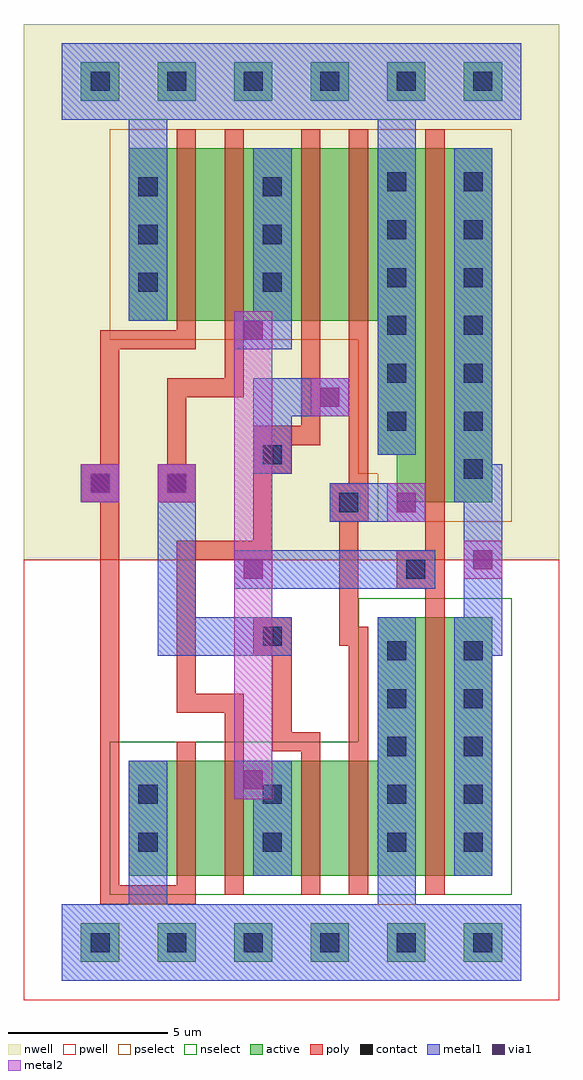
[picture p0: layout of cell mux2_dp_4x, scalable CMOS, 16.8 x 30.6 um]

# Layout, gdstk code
import gdstk
lib = gdstk.Library(unit=1e-6, precision=1e-09)
def R(c, l, rs):  # rectangles x0, y0, x1, y1
    for r in rs: c.add(gdstk.rectangle(r[:2], r[2:], *l))
def A(c, l, x, y, w, h, nx, ny, dx, dy):  # array of equal rectangles
    R(c, l, [(x+i*dx, y+j*dy, x+i*dx+w, y+j*dy+h) for i in range(nx) for j in range(ny)])
contact = (25, 0)
pwell = (41, 0)
nwell = (42, 0)
active = (43, 0)
pselect = (44, 0)
nselect = (45, 0)
poly = (46, 0)
metal1 = (49, 0)
via1 = (50, 0)
metal2 = (51, 0)

mux2_dp_4x = lib.new_cell('mux2_dp_4x')
A(mux2_dp_4x, contact, 0.3, -0.3, 0.6, 0.6, 6, 2, 2.4, 27)
A(mux2_dp_4x, contact, 1.8, 2.85, 0.6, 0.6, 3, 2, 3.9, 1.5)
A(mux2_dp_4x, contact, 12, 2.85, 0.6, 0.6, 1, 5, 0, 1.5)
A(mux2_dp_4x, contact, 9.6, 5.85, 0.6, 0.6, 1, 3, 0, 1.5)
A(mux2_dp_4x, contact, 12, 14.55, 0.6, 0.6, 1, 7, 0, 1.5)
A(mux2_dp_4x, contact, 9.6, 16.05, 0.6, 0.6, 1, 6, 0, 1.5)
A(mux2_dp_4x, contact, 1.8, 20.4, 0.6, 0.6, 1, 3, 0, 1.5)
A(mux2_dp_4x, contact, 5.7, 20.4, 0.6, 0.6, 1, 3, 0, 1.5)
R(mux2_dp_4x, contact, [(5.7,9.3,6.3,9.9), (10.2,11.4,10.8,12), (8.1,13.5,8.7,14.1), (0.3,14.1,0.9,14.7), (2.7,14.1,3.3,14.7), (5.7,15,6.3,15.6)])
A(mux2_dp_4x, pwell, -0.9, -1.5, 3, 3, 6, 1, 2.4, 0)
R(mux2_dp_4x, pwell, [(-1.8,-1.8,15,12), (-0.3,0.3,4.5,7.5), (0.3,0.3,6.3,7.5), (1.8,0.3,7.8,7.5), (3.6,0.3,8.4,7.5), (4.2,0.3,10.2,7.5), (5.7,0.3,11.7,7.5), (7.5,0.3,12.3,12), (8.1,0.3,14.1,12), (9.9,0.3,14.7,12), (7.65,1.65,12.225,6.15), (9.975,1.65,14.55,6.15), (3.6,1.95,8.175,6.45), (3.6,2.25,8.325,6.75), (1.425,2.55,6.675,7.05), (5.325,2.55,10.575,7.05), (7.575,2.55,12.15,7.05), (-0.15,2.577,4.425,7.077)])
A(mux2_dp_4x, nwell, -0.9, 25.5, 3, 3, 6, 1, 2.4, 0)
R(mux2_dp_4x, nwell, [(-1.8,12,15,28.8), (8.1,12,14.1,26.7), (9.9,12,14.7,26.7), (7.5,13.5,12.3,26.7), (-0.3,17.7,4.5,26.7), (0.3,17.7,6.3,26.7), (1.8,17.7,7.8,26.7), (3.6,17.7,8.4,26.7), (4.2,17.7,10.2,26.7), (5.7,17.7,11.7,26.7), (7.575,18.75,12.15,23.25), (3.75,19.05,8.325,23.55), (3.675,19.5,8.25,24), (5.325,19.65,10.575,24.15), (-0.15,19.95,4.425,24.45), (7.65,19.95,12.225,24.45), (9.975,20.25,14.55,24.75), (1.425,21.15,6.675,25.65)])
A(mux2_dp_4x, active, 0, -0.6, 1.2, 1.2, 6, 2, 2.4, 27)
R(mux2_dp_4x, active, [(1.5,2.1,2.7,5.7), (2.1,2.1,4.5,5.7), (3.6,2.1,6,5.7), (5.4,2.1,6.6,5.7), (6,2.1,8.4,5.7), (7.5,2.1,9.9,5.7), (9.3,2.1,10.5,10.2), (9.9,2.1,12.3,10.2), (11.7,2.1,12.9,10.2), (9.45,3.45,10.425,4.35), (11.775,3.45,12.75,4.35), (5.4,3.75,6.375,4.65), (5.4,4.05,6.525,4.95), (3.225,4.35,4.875,5.25), (7.125,4.35,8.775,5.25), (9.375,4.35,10.35,5.25), (1.65,4.377,2.625,5.277), (9.9,13.8,12.3,24.9), (11.7,13.8,12.9,24.9), (9.3,15.3,10.5,24.9), (1.5,19.5,2.7,24.9), (2.1,19.5,4.5,24.9), (3.6,19.5,6,24.9), (5.4,19.5,6.6,24.9), (6,19.5,8.4,24.9), (7.5,19.5,9.9,24.9), (9.375,20.55,10.35,21.45), (5.55,20.85,6.525,21.75), (5.475,21.3,6.45,22.2), (7.125,21.45,8.775,22.35), (1.65,21.75,2.625,22.65), (9.45,21.75,10.425,22.65), (11.775,22.05,12.75,22.95), (3.225,22.95,4.875,23.85)])
A(mux2_dp_4x, pselect, -0.6, -1.2, 2.4, 2.4, 6, 1, 2.4, 0)
R(mux2_dp_4x, pselect, [(9.3,13.2,12.9,25.5), (11.1,13.2,13.5,25.5), (8.7,14.7,11.1,25.5), (0.9,18.9,3.3,25.5), (1.5,18.9,5.1,25.5), (3,18.9,6.6,25.5), (4.8,18.9,7.2,25.5), (5.4,18.9,9,25.5), (6.9,18.9,10.5,25.5), (8.775,19.95,10.95,22.05), (4.95,20.25,7.125,22.35), (4.875,20.7,7.05,22.8), (6.525,20.85,9.375,22.95), (1.05,21.15,3.225,23.25), (8.85,21.15,11.025,23.25), (11.175,21.45,13.35,23.55), (2.625,22.35,5.475,24.45)])
A(mux2_dp_4x, nselect, -0.6, 25.8, 2.4, 2.4, 6, 1, 2.4, 0)
R(mux2_dp_4x, nselect, [(0.9,1.5,3.3,6.3), (1.5,1.5,5.1,6.3), (3,1.5,6.6,6.3), (4.8,1.5,7.2,6.3), (5.4,1.5,9,6.3), (6.9,1.5,10.5,6.3), (8.7,1.5,11.1,10.8), (9.3,1.5,12.9,10.8), (11.1,1.5,13.5,10.8), (8.85,2.85,11.025,4.95), (11.175,2.85,13.35,4.95), (4.8,3.15,6.975,5.25), (4.8,3.45,7.125,5.55), (2.625,3.75,5.475,5.85), (6.525,3.75,9.375,5.85), (8.775,3.75,10.95,5.85), (1.05,3.777,3.225,5.877)])
R(mux2_dp_4x, poly, [(0.6,1.2,3.6,1.8), (0.6,1.2,1.2,14.7), (3,1.5,3.6,6.3), (4.5,1.5,5.1,6.3), (6.9,1.5,7.5,6.3), (8.4,1.5,9,6.3), (10.8,1.5,11.4,10.8), (4.5,6,5.1,7.8), (6,6,7.5,6.6), (6,6,6.6,9.9), (8.4,6,9,9.9), (3,7.2,5.1,7.8), (3,7.2,3.6,12.6), (5.4,9,6.6,10.2), (5.7,9.3,6.6,9.9), (8.1,9.3,8.7,14.4), (8.1,9.3,9,9.9), (10.8,10.5,11.4,12), (9.9,11.1,11.1,12.3), (10.2,11.4,11.4,12), (10.8,11.4,11.4,13.5), (3,12,6,12.6), (5.4,12,6,16.2), (7.8,13.2,9,14.4), (10.8,13.2,11.4,25.5), (8.1,13.5,8.7,14.4), (0,13.8,1.2,15), (2.4,13.8,3.6,15), (8.1,13.8,9,14.4), (8.1,13.8,9,14.4), (8.4,13.8,9,19.2), (0.3,14.1,1.2,14.7), (0.6,14.1,1.2,19.2), (2.7,14.1,3.3,14.7), (2.7,14.1,3.3,14.7), (2.7,14.1,3.3,15.3), (2.7,14.1,3.3,17.7), (5.4,14.7,6.6,15.9), (5.4,15,6.3,15.6), (5.4,15,6,16.2), (5.4,15.6,7.5,16.2), (6.9,15.6,7.5,19.2), (2.7,17.1,5.1,17.7), (4.5,17.1,5.1,19.2), (0.6,18.6,3.6,19.2), (8.4,18.6,9,19.2), (8.4,18.6,9,19.2), (3,18.9,3.6,25.5), (4.5,18.9,5.1,25.5), (6.9,18.9,7.5,25.5), (8.4,18.9,9,25.5)])
A(mux2_dp_4x, metal1, -0.6, -1.2, 4.8, 2.4, 3, 1, 2.4, 0)
A(mux2_dp_4x, metal1, 0, -0.6, 1.2, 1.2, 6, 1, 2.4, 0)
A(mux2_dp_4x, metal1, 0, 26.4, 1.2, 1.2, 4, 1, 2.4, 0)
R(mux2_dp_4x, metal1, [(-0.6,-1.2,1.8,1.2), (-0.6,-1.2,4.2,1.2), (-0.6,-1.2,3.3,1.2), (6.6,-1.2,11.1,1.2), (8.7,-1.2,11.4,1.2), (9,-1.2,13.8,1.2), (1.5,-0.6,2.7,3.45), (9.3,-0.6,10.5,3.45), (1.5,2.1,2.7,5.7), (5.4,2.1,6.6,5.7), (9.3,2.1,10.5,10.2), (11.7,2.1,12.9,10.2), (4.8,4.5,6,5.7), (4.8,4.5,6.6,5.7), (11.7,5.55,12.9,10.2), (2.4,9,3.6,15), (2.4,9,6.6,10.2), (5.4,9,6.6,10.2), (11.7,9,13.2,10.2), (12,9,13.2,12.6), (4.8,11.1,6,12.3), (4.8,11.1,11.1,12.3), (9.9,11.1,11.1,12.3), (12,11.4,13.2,15), (12,11.4,13.2,12.6), (12,11.4,13.2,12.6), (7.8,13.2,9,14.4), (7.8,13.2,10.8,14.4), (9.6,13.2,10.8,14.4), (0,13.8,1.2,15), (0,13.8,1.2,15), (2.4,13.8,3.6,15), (2.4,13.8,3.6,15), (2.4,13.8,3.6,15), (2.4,13.8,3.6,15), (11.7,13.8,12.9,24.9), (11.7,13.8,13.2,15), (11.7,13.8,12.9,19.95), (0.15,13.95,1.05,14.85), (5.4,14.7,6.6,15.9), (5.4,14.7,6.6,17.7), (9.3,15.3,10.5,24.9), (5.4,16.5,8.4,17.7), (7.2,16.5,8.4,17.7), (4.8,18.6,6,19.8), (4.8,18.6,6.6,19.8), (5.4,18.6,6.6,20.7), (1.5,19.5,2.7,24.9), (5.4,19.5,6.6,24.9), (1.5,23.55,2.7,27.6), (9.3,23.55,10.5,27.6), (-0.6,25.8,1.8,28.2), (-0.6,25.8,3.3,28.2), (0.9,25.8,4.2,28.2), (1.8,25.8,9,28.2), (6.6,25.8,11.1,28.2), (8.7,25.8,11.4,28.2), (9,25.8,13.8,28.2), (0,26.4,1.2,27.6), (4.8,26.4,8.4,27.6), (7.2,26.4,8.4,27.6), (9.6,26.4,10.8,27.6), (9.6,26.4,10.8,27.6), (12,26.4,13.2,27.6)])
R(mux2_dp_4x, via1, [(5.1,4.8,5.7,5.4), (5.1,11.4,5.7,12), (12.3,11.7,12.9,12.3), (9.9,13.5,10.5,14.1), (0.3,14.1,0.9,14.7), (2.7,14.1,3.3,14.7), (7.5,16.8,8.1,17.4), (5.1,18.9,5.7,19.5)])
R(mux2_dp_4x, metal2, [(4.8,4.5,6,5.7), (4.8,4.5,6,12), (4.8,10.8,6,19.5), (4.8,11.1,6,12.3), (12,11.4,13.2,12.6), (9.6,13.2,10.8,14.4), (0,13.8,1.2,15), (2.4,13.8,3.6,15), (7.2,16.5,8.4,17.7), (4.8,18.6,6,19.8)])

lib.write_gds('mux2_dp_4x.gds')
